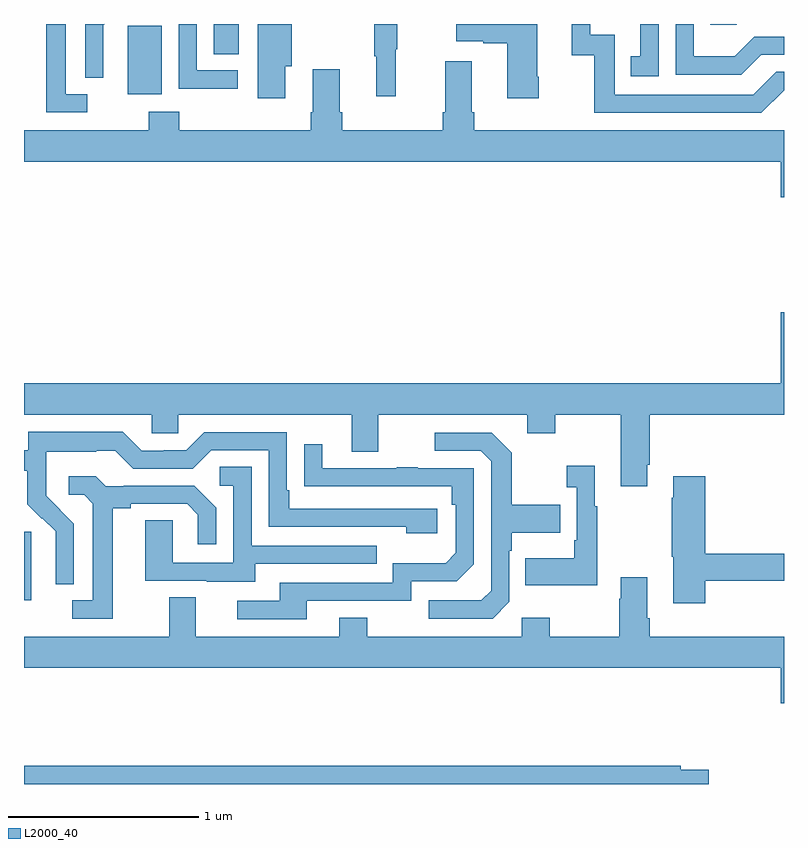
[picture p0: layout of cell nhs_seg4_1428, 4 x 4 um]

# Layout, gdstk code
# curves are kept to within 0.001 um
import gdstk
lib = gdstk.Library(unit=1e-6, precision=1e-09)
def R(c, l, rs):  # rectangles x0, y0, x1, y1
    for r in rs: c.add(gdstk.rectangle(r[:2], r[2:], *l))
def P(c, l, *ps):  # polygons
    for p in ps: c.add(gdstk.Polygon(p, *l))
L2000_40 = (2000, 40)

nhs_seg4_1428 = lib.new_cell('nhs_seg4_1428')
R(nhs_seg4_1428, L2000_40, [(185,771.866,185.038,772.227), (185.546,774.53,185.725,774.891), (185.999,774.742,186.13,774.9), (188.611,774.897,188.751,774.9)])
P(nhs_seg4_1428, L2000_40, [(186.376,774.677),(186.409,774.677),(186.409,774.9),(186.23,774.9),(186.23,774.51),(186.376,774.51)],
  [(188.34,774.9),(188.243,774.9),(188.243,774.729),(188.194,774.729),(188.194,774.624),(188.34,774.624)],
  [(189,774.552),(189,774.648),(188.958,774.648),(188.838,774.528),(188.109,774.528),(188.109,774.843),(187.98,774.843),(187.98,774.9),(187.883,774.9),(187.883,774.735),(188.001,774.735),(188.001,774.432),(188.88,774.432)],
  [(188.881,774.738),(189,774.738),(189,774.834),(188.844,774.834),(188.74,774.73),(188.526,774.73),(188.526,774.9),(188.43,774.9),(188.43,774.633),(188.776,774.633)],
  [(187.71,774.622),(187.702,774.622),(187.702,774.9),(187.275,774.9),(187.275,774.809),(187.418,774.809),(187.418,774.799),(187.544,774.799),(187.544,774.51),(187.71,774.51)],
  [(186.956,774.768),(186.964,774.768),(186.964,774.9),(186.843,774.9),(186.843,774.731),(186.854,774.731),(186.854,774.519),(186.956,774.519)],
  [(186.124,774.657),(185.91,774.657),(185.91,774.9),(185.814,774.9),(185.814,774.559),(186.124,774.559)],
  [(185.418,774.77),(185.417,774.77),(185.417,774.893),(185.424,774.9),(185.322,774.9),(185.322,774.616),(185.418,774.616)],
  [(185.332,774.531),(185.221,774.531),(185.221,774.9),(185.117,774.9),(185.117,774.435),(185.332,774.435)],
  [(189,774.34),(187.37,774.34),(187.37,774.436),(187.357,774.436),(187.357,774.703),(187.217,774.703),(187.217,774.436),(187.205,774.436),(187.205,774.34),(186.674,774.34),(186.674,774.436),(186.661,774.436),(186.661,774.661),(186.521,774.661),(186.521,774.436),(186.509,774.436),(186.509,774.34),(185.816,774.34),(185.816,774.439),(185.656,774.439),(185.656,774.34),(185,774.34),(185,774.176),(188.984,774.176),(188.984,773.988),(189,773.988)],
  [(188.281,772.579),(188.294,772.579),(188.294,772.844),(189,772.844),(189,773.383),(188.984,773.383),(188.984,773.008),(185,773.008),(185,772.844),(185.673,772.844),(185.673,772.746),(185.811,772.746),(185.811,772.844),(186.725,772.844),(186.725,772.65),(186.865,772.65),(186.865,772.844),(187.649,772.844),(187.649,772.745),(187.797,772.745),(187.797,772.844),(188.141,772.844),(188.141,772.467),(188.281,772.467)],
  [(185.262,772.27),(185.116,772.418),(185.116,772.515),(185.118,772.515),(185.118,772.649),(185.381,772.649),(185.381,772.653),(185.481,772.653),(185.574,772.56),(185.889,772.56),(185.985,772.656),(186.288,772.656),(186.288,772.254),(187.013,772.254),(187.013,772.22),(187.174,772.22),(187.174,772.35),(186.397,772.35),(186.397,772.447),(186.384,772.447),(186.384,772.752),(185.949,772.752),(185.853,772.656),(185.735,772.656),(185.735,772.653),(185.619,772.653),(185.519,772.753),(185.022,772.753),(185.022,772.656),(185,772.656),(185,772.548),(185.017,772.548),(185.017,772.373),(185.094,772.296),(185.097,772.299),(185.168,772.229),(185.168,772.106),(185.166,772.106),(185.166,771.952),(185.262,771.952)],
  [(187.554,771.858),(187.554,772.127),(187.567,772.127),(187.567,772.223),(187.823,772.223),(187.823,772.371),(187.567,772.371),(187.567,772.643),(187.461,772.749),(187.161,772.749),(187.161,772.653),(187.404,772.653),(187.458,772.599),(187.458,771.918),(187.407,771.867),(187.131,771.867),(187.131,771.771),(187.467,771.771)],
  [(186.487,771.864),(187.038,771.864),(187.038,771.966),(187.278,771.966),(187.368,772.056),(187.368,772.563),(187.073,772.563),(187.073,772.568),(186.961,772.568),(186.961,772.563),(186.571,772.563),(186.571,772.687),(186.475,772.687),(186.475,772.468),(187.252,772.467),(187.252,772.37),(187.272,772.37),(187.272,772.116),(187.219,772.063),(186.942,772.063),(186.942,771.96),(186.347,771.96),(186.347,771.864),(186.123,771.864),(186.123,771.768),(186.487,771.768)],
  [(188.017,772.363),(188.005,772.363),(188.005,772.576),(187.857,772.576),(187.857,772.463),(187.908,772.463),(187.908,772.183),(187.896,772.183),(187.896,772.087),(187.639,772.087),(187.639,771.947),(188.017,771.947)],
  [(186.217,772.059),(186.857,772.059),(186.857,772.155),(186.198,772.155),(186.198,772.571),(186.03,772.571),(186.03,772.47),(186.102,772.47),(186.102,772.065),(185.784,772.065),(185.784,772.289),(185.639,772.289),(185.639,771.969),(185.963,771.969),(185.963,771.965),(186.217,771.965)],
  [(185.467,772.352),(185.563,772.352),(185.563,772.374),(185.858,772.374),(185.915,772.317),(185.915,772.161),(186.012,772.161),(186.012,772.354),(185.896,772.47),(185.524,772.47),(185.524,772.467),(185.43,772.467),(185.378,772.519),(185.235,772.519),(185.235,772.422),(185.316,772.422),(185.363,772.375),(185.363,771.867),(185.253,771.867),(185.253,771.771),(185.467,771.771)],
  [(188.585,771.97),(189,771.97),(189,772.112),(188.585,772.112),(188.585,772.519),(188.417,772.519),(188.417,772.406),(188.41,772.406),(188.41,772.095),(188.417,772.095),(188.417,771.852),(188.585,771.852)],
  [(189,771.676),(188.294,771.676),(188.294,771.772),(188.281,771.772),(188.281,771.988),(188.141,771.988),(188.141,771.875),(188.134,771.875),(188.134,771.676),(187.767,771.676),(187.767,771.775),(187.62,771.775),(187.62,771.676),(186.807,771.676),(186.807,771.775),(186.659,771.775),(186.659,771.676),(185.905,771.676),(185.905,771.884),(185.765,771.884),(185.765,771.676),(185,771.676),(185,771.512),(188.984,771.512),(188.984,771.324),(189,771.324)],
  [(188.603,770.976),(188.456,770.976),(188.456,770.996),(185,770.996),(185,770.9),(188.603,770.9)])

lib.write_gds('nhs_seg4_1428.gds')
